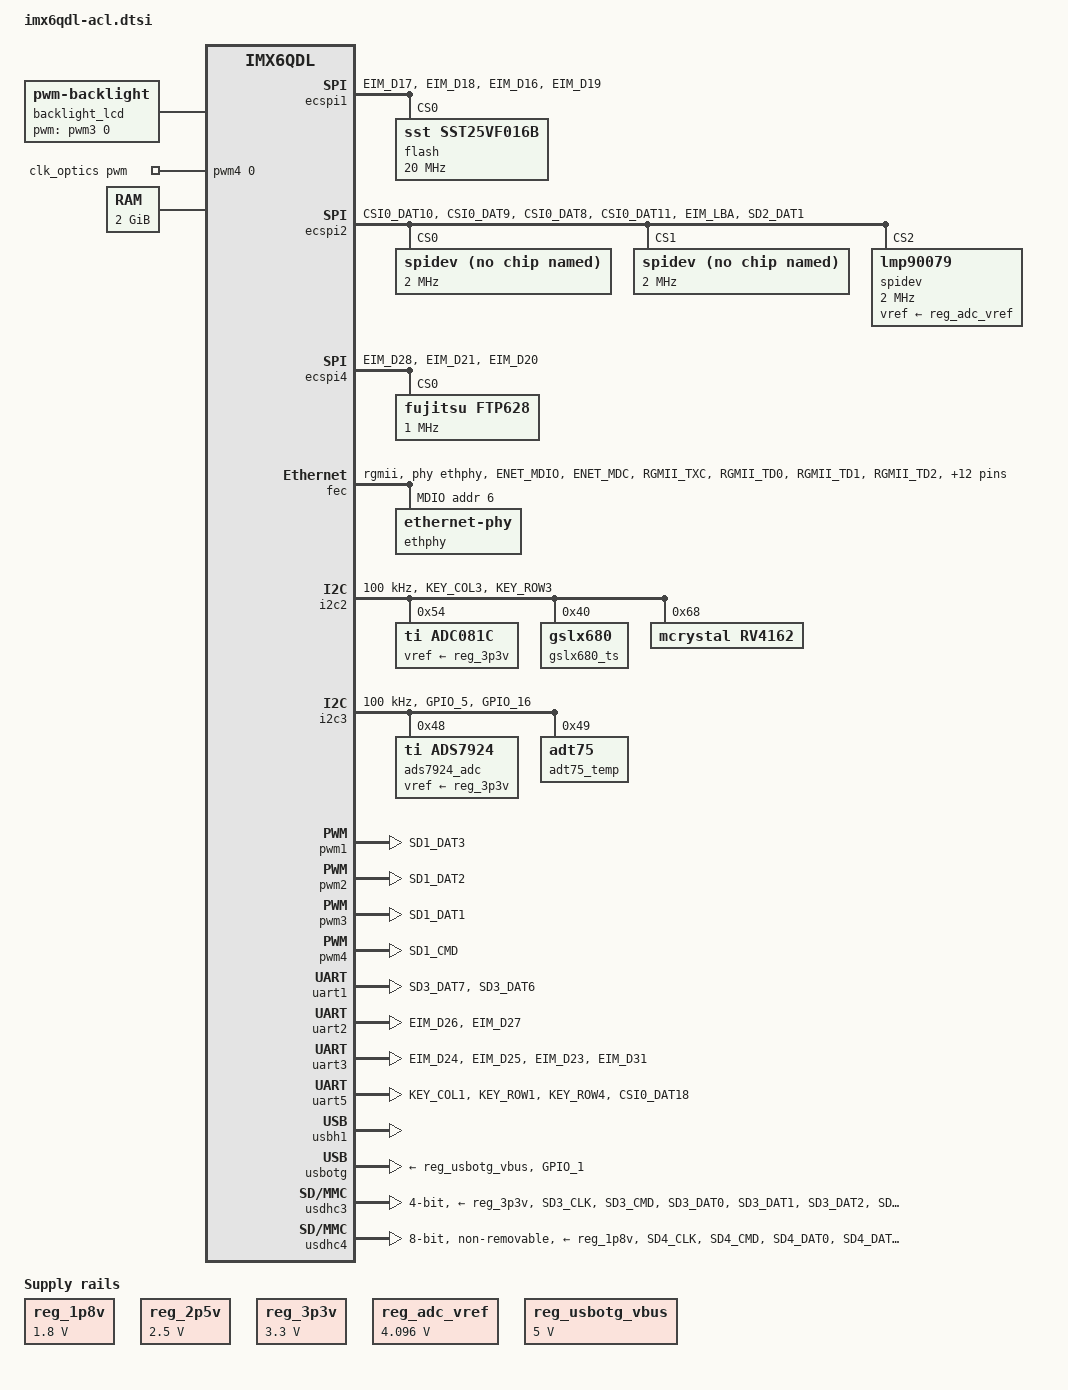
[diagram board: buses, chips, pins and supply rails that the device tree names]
/*
 * Copyright 2016 Boundary Devices, Inc.
 *
 * The code contained herein is licensed under the GNU General Public
 * License. You may obtain a copy of the GNU General Public License
 * Version 2 or later at the following locations:
 *
 * http://www.opensource.org/licenses/gpl-license.html
 * http://www.gnu.org/copyleft/gpl.html
 */
#include <dt-bindings/gpio/gpio.h>
#include <dt-bindings/input/input.h>

&iomuxc {
	pinctrl-names = "default";
	pinctrl-0 = <&pinctrl_hog>;

	iomuxc_imx6q_acl: iomuxc-imx6q-aclgrp {
		status = "okay";
	};
};

&iomuxc_imx6q_acl {
	pinctrl_ecspi1: ecspi1grp {
		fsl,pins = <
			MX6QDL_PAD_EIM_D17__ECSPI1_MISO		0x100b1
			MX6QDL_PAD_EIM_D18__ECSPI1_MOSI		0x100b1
			MX6QDL_PAD_EIM_D16__ECSPI1_SCLK		0x000b1
#define GP_ECSPI1_NOR_CS	<&gpio3 19 GPIO_ACTIVE_LOW>
			MX6QDL_PAD_EIM_D19__GPIO3_IO19		0x0b0b1
		>;
	};

	pinctrl_ecspi2: ecspi2grp {
		fsl,pins = <
			MX6QDL_PAD_CSI0_DAT10__ECSPI2_MISO	0x100b1
			MX6QDL_PAD_CSI0_DAT9__ECSPI2_MOSI	0x100b1
			MX6QDL_PAD_CSI0_DAT8__ECSPI2_SCLK	0x000b1
#define GP_ECSPI2_MOTOR0	<&gpio5 29 GPIO_ACTIVE_LOW>
			MX6QDL_PAD_CSI0_DAT11__GPIO5_IO29	0x0b0b1
#define GP_ECSPI2_MOTOR1	<&gpio2 27 GPIO_ACTIVE_LOW>
			MX6QDL_PAD_EIM_LBA__GPIO2_IO27		0x0b0b1
#define GP_ECSPI2_OPTICS	<&gpio1 14 GPIO_ACTIVE_LOW>
			MX6QDL_PAD_SD2_DAT1__GPIO1_IO14		0x0b0b0
		>;
	};

	pinctrl_ecspi2_lmp90079: ecspi2_lmp90079grp {
		fsl,pins = <
#define GPIRQ_LMP90079		<&gpio7 1 IRQ_TYPE_EDGE_FALLING>
			MX6QDL_PAD_SD3_DAT4__GPIO7_IO01		0x1b0b0
		>;
	};

	pinctrl_ecspi4: ecspi4grp {
		fsl,pins = <
			MX6QDL_PAD_EIM_D28__ECSPI4_MOSI		0x1b0b1
			MX6QDL_PAD_EIM_D21__ECSPI4_SCLK		0x0b0b1
#define GP_ECSPI4_DUMMY_CS0	<&gpio3 20 GPIO_ACTIVE_LOW>
			MX6QDL_PAD_EIM_D20__GPIO3_IO20		0x000b1
		>;
	};

	pinctrl_enet: enetgrp {
		fsl,pins = <
			MX6QDL_PAD_ENET_MDIO__ENET_MDIO		0x1b0b0
			MX6QDL_PAD_ENET_MDC__ENET_MDC		0x1b0b0
			MX6QDL_PAD_RGMII_TXC__RGMII_TXC		0x100b0
			MX6QDL_PAD_RGMII_TD0__RGMII_TD0		0x100b0
			MX6QDL_PAD_RGMII_TD1__RGMII_TD1		0x100b0
			MX6QDL_PAD_RGMII_TD2__RGMII_TD2		0x100b0
			MX6QDL_PAD_RGMII_TD3__RGMII_TD3		0x100b0
			MX6QDL_PAD_RGMII_TX_CTL__RGMII_TX_CTL	0x100b0
			MX6QDL_PAD_ENET_REF_CLK__ENET_TX_CLK	0x100b0
			MX6QDL_PAD_RGMII_RXC__RGMII_RXC		0x1b0b0
			MX6QDL_PAD_RGMII_RD0__RGMII_RD0		0x1b0b0
			MX6QDL_PAD_RGMII_RD1__RGMII_RD1		0x1b0b0
			MX6QDL_PAD_RGMII_RD2__RGMII_RD2		0x1b0b0
			MX6QDL_PAD_RGMII_RD3__RGMII_RD3		0x1b0b0
			MX6QDL_PAD_RGMII_RX_CTL__RGMII_RX_CTL	0x1b0b0
#define GP_ENET_PHY_RESET	<&gpio1 27 GPIO_ACTIVE_LOW>
			MX6QDL_PAD_ENET_RXD0__GPIO1_IO27	0x030b0
#define GPIRQ_ENET_PHY		<&gpio1 28 IRQ_TYPE_LEVEL_LOW>
			MX6QDL_PAD_ENET_TX_EN__GPIO1_IO28	0x1b0b0
#define GPIRQ_ENET		<&gpio1 6 IRQ_TYPE_LEVEL_HIGH>
			MX6QDL_PAD_GPIO_6__ENET_IRQ		0x000b1
		>;
	};

	pinctrl_hog: hoggrp {
		fsl,pins = <
			/* Buzzer */
			MX6QDL_PAD_GPIO_3__GPIO1_IO03		0x130b0
			/* Fan */
			MX6QDL_PAD_GPIO_8__GPIO1_IO08		0x1b0b0
			MX6QDL_PAD_GPIO_17__GPIO7_IO12		0x130b0
			MX6QDL_PAD_EIM_DA13__GPIO3_IO13		0x130b0
			/* Motors */
			MX6QDL_PAD_EIM_CS1__GPIO2_IO24		0x130b0
			MX6QDL_PAD_EIM_CS0__GPIO2_IO23		0x130b0
			MX6QDL_PAD_EIM_OE__GPIO2_IO25		0x130b0
			MX6QDL_PAD_EIM_RW__GPIO2_IO26		0x130b0
			/* motor control for CS0, STEP1_RESET */
			MX6QDL_PAD_EIM_DA8__GPIO3_IO08		0x1b8b0
			MX6QDL_PAD_EIM_DA9__GPIO3_IO09		0x1b0b0
			MX6QDL_PAD_EIM_DA10__GPIO3_IO10		0x1b0b0
			MX6QDL_PAD_EIM_DA11__GPIO3_IO11		0x130b0
			/* motor control for CS1, STEP2_RESET */
			MX6QDL_PAD_EIM_EB3__GPIO2_IO31		0x1b8b0
			MX6QDL_PAD_EIM_WAIT__GPIO5_IO00		0x1b0b0
			MX6QDL_PAD_EIM_BCLK__GPIO6_IO31		0x1b0b0
			MX6QDL_PAD_EIM_EB0__GPIO2_IO28		0x130b0
			/* Printer */
#define GP_PRT_MOTOR_BDCAY	<&gpio2 22 GPIO_ACTIVE_HIGH>
			MX6QDL_PAD_EIM_A16__GPIO2_IO22		0x1b0b0
#define GP_PRT_MOTOR_ADCAY	<&gpio2 21 GPIO_ACTIVE_HIGH>
			MX6QDL_PAD_EIM_A17__GPIO2_IO21		0x1b0b0
#define GP_PRT_MOTOR_TOFF	<&gpio2 20 GPIO_ACTIVE_HIGH>
			MX6QDL_PAD_EIM_A18__GPIO2_IO20		0x1b0b0
#define GP_PRT_MOTOR_ATE	<&gpio2 19 GPIO_ACTIVE_HIGH>
			MX6QDL_PAD_EIM_A19__GPIO2_IO19		0x1b0b0
#define GP_PRT_MOTOR_SLEEP	<&gpio2 18 GPIO_ACTIVE_LOW>
			MX6QDL_PAD_EIM_A20__GPIO2_IO18		0x1b0b0
#define GP_PRT_MOTOR_B1		<&gpio2 17 GPIO_ACTIVE_HIGH>
	   		MX6QDL_PAD_EIM_A21__GPIO2_IO17		0x1b0b0
#define GP_PRT_MOTOR_B2		<&gpio2 16 GPIO_ACTIVE_HIGH>
	        	MX6QDL_PAD_EIM_A22__GPIO2_IO16		0x1b0b0
#define GP_PRT_MOTOR_A1		<&gpio6 6 GPIO_ACTIVE_HIGH>
	        	MX6QDL_PAD_EIM_A23__GPIO6_IO06		0x1b0b0
#define GP_PRT_MOTOR_A2		<&gpio5 4 GPIO_ACTIVE_HIGH>
			MX6QDL_PAD_EIM_A24__GPIO5_IO04		0x1b0b0
#define GP_PRT_STROBE1		<&gpio3 0 GPIO_ACTIVE_HIGH>
			MX6QDL_PAD_EIM_DA0__GPIO3_IO00		0x1b0b0
#define GP_PRT_STROBE2		<&gpio3 1 GPIO_ACTIVE_HIGH>
			MX6QDL_PAD_EIM_DA1__GPIO3_IO01		0x1b0b0
#define GP_PRT_STROBE3		<&gpio3 2 GPIO_ACTIVE_HIGH>
			MX6QDL_PAD_EIM_DA2__GPIO3_IO02		0x1b0b0
#define GP_PRT_STROBE4		<&gpio3 3 GPIO_ACTIVE_HIGH>
			MX6QDL_PAD_EIM_DA3__GPIO3_IO03		0x1b0b0
#define GP_PRT_STROBE5		<&gpio3 4 GPIO_ACTIVE_HIGH>
			MX6QDL_PAD_EIM_DA4__GPIO3_IO04		0x1b0b0
#define GP_PRT_STROBE6		<&gpio3 5 GPIO_ACTIVE_HIGH>
			MX6QDL_PAD_EIM_DA5__GPIO3_IO05		0x1b0b0
#define GP_PRT_LATCH		<&gpio3 7 GPIO_ACTIVE_HIGH>
			MX6QDL_PAD_EIM_DA7__GPIO3_IO07		0x1b0b0
#define GP_PRT_TRQ0		<&gpio5 22 GPIO_ACTIVE_HIGH>
			MX6QDL_PAD_CSI0_DAT4__GPIO5_IO22	0x1b0b0
#define GP_PRT_TRQ1		<&gpio5 23 GPIO_ACTIVE_HIGH>
			MX6QDL_PAD_CSI0_DAT5__GPIO5_IO23	0x1b0b0
#define GP_PRT_MOTOR_FAULT	<&gpio5 24 GPIO_ACTIVE_LOW>
			MX6QDL_PAD_CSI0_DAT6__GPIO5_IO24	0x1b0b0
#define GP_PRT_DOUT		<&gpio1 13 GPIO_ACTIVE_HIGH>
			MX6QDL_PAD_SD2_DAT2__GPIO1_IO13		0x1b0b0
#define GP_PRT_PAPER_OUT	<&gpio1 12 GPIO_ACTIVE_HIGH>
			MX6QDL_PAD_SD2_DAT3__GPIO1_IO12		0x1b0b0
#define GP_STAT_LED1		<&gpio3 29 GPIO_ACTIVE_HIGH>
			MX6QDL_PAD_EIM_D29__GPIO3_IO29		0x130b0
#define GP_STAT_LED2		<&gpio3 29 GPIO_ACTIVE_HIGH>
			MX6QDL_PAD_EIM_EB1__GPIO2_IO29		0x130b0
			/* Scanner */
			MX6QDL_PAD_CSI0_MCLK__GPIO5_IO19	0x130b0
			MX6QDL_PAD_CSI0_PIXCLK__GPIO5_IO18	0x130b0
			MX6QDL_PAD_CSI0_DAT16__GPIO6_IO02	0x130b0
			MX6QDL_PAD_CSI0_DAT17__GPIO6_IO03	0x130b0
			/* Solenoids */
			MX6QDL_PAD_GPIO_19__GPIO4_IO05		0x1b0b0
			MX6QDL_PAD_GPIO_7__GPIO1_IO07		0x1b0b0
			MX6QDL_PAD_GPIO_2__GPIO1_IO02		0x1b0b0
			MX6QDL_PAD_SD1_DAT0__GPIO1_IO16		0x1b0b0
			MX6QDL_PAD_GPIO_18__GPIO7_IO13		0x1b0b0
			MX6QDL_PAD_GPIO_0__GPIO1_IO00		0x1b0b0
		>;
	};

	pinctrl_i2c2: i2c2grp {
		fsl,pins = <
			MX6QDL_PAD_KEY_COL3__I2C2_SCL		0x4001b8b1
			MX6QDL_PAD_KEY_ROW3__I2C2_SDA		0x4001b8b1
		>;
	};

	pinctrl_i2c2_adc081c: i2c2-adc081cgrp {
		fsl,pins = <
#define GPIRQ_PRINT_ALERT	<&gpio4 6 IRQ_TYPE_LEVEL_LOW>
			MX6QDL_PAD_CSI0_DATA_EN__GPIO5_IO20	0x1b0b0
		>;
	};

	pinctrl_i2c2_rv4162: i2c2-rv4162grp {
		fsl,pins = <
#define GPIRQ_RTC_RV4162	<&gpio4 6 IRQ_TYPE_LEVEL_LOW>
			MX6QDL_PAD_KEY_COL0__GPIO4_IO06		0x1b0b0
		>;
	};

	pinctrl_i2c3_ads7924: i2c3_ads7924grp {
		fsl,pins = <
#define GPIRQ_ADC_INTR		<&gpio3 14 IRQ_TYPE_LEVEL_LOW>
			MX6QDL_PAD_EIM_DA14__GPIO3_IO14		0x1b0b0
#define GP_ADC_RESET		<&gpio3 15 GPIO_ACTIVE_LOW>
			MX6QDL_PAD_EIM_DA15__GPIO3_IO15		0x130b0
		>;
	};

	pinctrl_i2c3_adt75: i2c3_adt75grp {
		fsl,pins = <
#define GPIRQ_TEMP_ALERT		<&gpio4 4 IRQ_TYPE_LEVEL_LOW>
			MX6QDL_PAD_GPIO_4__GPIO1_IO04		0x1b0b0
		>;
	};

	pinctrl_i2c3_gslx680: i2c3_gslx680grp {
		fsl,pins = <
#define GPIRQ_GSLX680			<&gpio4 10 IRQ_TYPE_LEVEL_HIGH>
#define GP_GSLX680_IRQ			<&gpio4 10 GPIO_ACTIVE_HIGH>
			MX6QDL_PAD_KEY_COL2__GPIO4_IO10		0x130b0
#define GP_GSLX680_SHUTDOWN		<&gpio4 11 GPIO_ACTIVE_LOW>
			MX6QDL_PAD_KEY_ROW2__GPIO4_IO11		0x1b0b0
		>;
	};

	pinctrl_i2c3: i2c3grp {
		fsl,pins = <
			MX6QDL_PAD_GPIO_5__I2C3_SCL		0x4001b8b1
			MX6QDL_PAD_GPIO_16__I2C3_SDA		0x4001b8b1
		>;
	};

	pinctrl_lcd: lcdgrp {
		fsl,pins = <
			MX6QDL_PAD_DI0_DISP_CLK__IPU1_DI0_DISP_CLK	0x10
			MX6QDL_PAD_DI0_PIN15__IPU1_DI0_PIN15		0x10
			MX6QDL_PAD_DI0_PIN2__IPU1_DI0_PIN02		0x10
			MX6QDL_PAD_DI0_PIN3__IPU1_DI0_PIN03		0x10
			MX6QDL_PAD_DISP0_DAT0__IPU1_DISP0_DATA00	0x10
			MX6QDL_PAD_DISP0_DAT1__IPU1_DISP0_DATA01	0x10
			MX6QDL_PAD_DISP0_DAT2__IPU1_DISP0_DATA02	0x10
			MX6QDL_PAD_DISP0_DAT3__IPU1_DISP0_DATA03	0x10
			MX6QDL_PAD_DISP0_DAT4__IPU1_DISP0_DATA04	0x10
			MX6QDL_PAD_DISP0_DAT5__IPU1_DISP0_DATA05	0x10
			MX6QDL_PAD_DISP0_DAT6__IPU1_DISP0_DATA06	0x10
			MX6QDL_PAD_DISP0_DAT7__IPU1_DISP0_DATA07	0x10
			MX6QDL_PAD_DISP0_DAT8__IPU1_DISP0_DATA08	0x10
			MX6QDL_PAD_DISP0_DAT9__IPU1_DISP0_DATA09	0x10
			MX6QDL_PAD_DISP0_DAT10__IPU1_DISP0_DATA10	0x10
			MX6QDL_PAD_DISP0_DAT11__IPU1_DISP0_DATA11	0x10
			MX6QDL_PAD_DISP0_DAT12__IPU1_DISP0_DATA12	0x10
			MX6QDL_PAD_DISP0_DAT13__IPU1_DISP0_DATA13	0x10
			MX6QDL_PAD_DISP0_DAT14__IPU1_DISP0_DATA14	0x10
			MX6QDL_PAD_DISP0_DAT15__IPU1_DISP0_DATA15	0x10
			MX6QDL_PAD_DISP0_DAT16__IPU1_DISP0_DATA16	0x10
			MX6QDL_PAD_DISP0_DAT17__IPU1_DISP0_DATA17	0x10
			MX6QDL_PAD_DISP0_DAT18__IPU1_DISP0_DATA18	0x10
			MX6QDL_PAD_DISP0_DAT19__IPU1_DISP0_DATA19	0x10
			MX6QDL_PAD_DISP0_DAT20__IPU1_DISP0_DATA20	0x10
			MX6QDL_PAD_DISP0_DAT21__IPU1_DISP0_DATA21	0x10
			MX6QDL_PAD_DISP0_DAT22__IPU1_DISP0_DATA22	0x10
			MX6QDL_PAD_DISP0_DAT23__IPU1_DISP0_DATA23	0x10
		>;
	};

	pinctrl_pwm1: pwm1grp {
		fsl,pins = <
			MX6QDL_PAD_SD1_DAT3__PWM1_OUT		0x030b1
		>;
	};

	pinctrl_pwm2: pwm2grp {
		fsl,pins = <
			MX6QDL_PAD_SD1_DAT2__PWM2_OUT		0x030b1
		>;
	};

	pinctrl_pwm3: pwm3grp {
		fsl,pins = <
			MX6QDL_PAD_SD1_DAT1__PWM3_OUT		0x030b1
		>;
	};

	pinctrl_pwm4: pwm4grp {
		fsl,pins = <
			MX6QDL_PAD_SD1_CMD__PWM4_OUT		0x030b1
		>;
	};

	pinctrl_reg_usbotg_vbus: reg-usbotg-vbusgrp {
		fsl,pins = <
#define GP_REG_USBOTG	<&gpio3 22 GPIO_ACTIVE_HIGH>
			MX6QDL_PAD_EIM_D22__GPIO3_IO22		0x030b0
		>;
	};

	pinctrl_uart1: uart1grp {
		fsl,pins = <
			MX6QDL_PAD_SD3_DAT7__UART1_TX_DATA	0x1b0b1
			MX6QDL_PAD_SD3_DAT6__UART1_RX_DATA	0x1b0b1
		>;
	};

	pinctrl_uart2: uart2grp {
		fsl,pins = <
			MX6QDL_PAD_EIM_D26__UART2_TX_DATA	0x1b0b1
			MX6QDL_PAD_EIM_D27__UART2_RX_DATA	0x1b0b1
		>;
	};

	pinctrl_uart3: uart3grp {
		fsl,pins = <
			MX6QDL_PAD_EIM_D24__UART3_TX_DATA	0x1b0b1
			MX6QDL_PAD_EIM_D25__UART3_RX_DATA	0x1b0b1
			MX6QDL_PAD_EIM_D23__UART3_CTS_B		0x1b0b1
			MX6QDL_PAD_EIM_D31__UART3_RTS_B		0x1b0b1
		>;
	};

	pinctrl_uart5: uart5grp {
		fsl,pins = <
			MX6QDL_PAD_KEY_COL1__UART5_TX_DATA	0x1b0b1
			MX6QDL_PAD_KEY_ROW1__UART5_RX_DATA	0x1b0b1
			MX6QDL_PAD_KEY_ROW4__UART5_CTS_B	0x1b0b1
			MX6QDL_PAD_CSI0_DAT18__UART5_RTS_B	0x1b0b1
		>;
	};

	pinctrl_usbotg: usbotggrp {
		fsl,pins = <
			MX6QDL_PAD_GPIO_1__USB_OTG_ID		0x17059
		>;
	};

	pinctrl_usdhc3: usdhc3grp {
		fsl,pins = <
			MX6QDL_PAD_SD3_CLK__SD3_CLK		0x10059
			MX6QDL_PAD_SD3_CMD__SD3_CMD		0x17059
			MX6QDL_PAD_SD3_DAT0__SD3_DATA0		0x17059
			MX6QDL_PAD_SD3_DAT1__SD3_DATA1		0x17059
			MX6QDL_PAD_SD3_DAT2__SD3_DATA2		0x17059
			MX6QDL_PAD_SD3_DAT3__SD3_DATA3		0x17059
			MX6QDL_PAD_NANDF_CS1__SD3_VSELECT	0x100b0		/* sd3 voltage select */
#define GP_USDHC3_CD	<&gpio7 0 GPIO_ACTIVE_LOW>
			MX6QDL_PAD_SD3_DAT5__GPIO7_IO00		0x1b0b0
		>;
	};

	pinctrl_usdhc4: usdhc4grp {
		fsl,pins = <
			MX6QDL_PAD_SD4_CLK__SD4_CLK		0x10059
			MX6QDL_PAD_SD4_CMD__SD4_CMD		0x17059
			MX6QDL_PAD_SD4_DAT0__SD4_DATA0		0x17059
			MX6QDL_PAD_SD4_DAT1__SD4_DATA1		0x17059
			MX6QDL_PAD_SD4_DAT2__SD4_DATA2		0x17059
			MX6QDL_PAD_SD4_DAT3__SD4_DATA3		0x17059
			MX6QDL_PAD_SD4_DAT4__SD4_DATA4		0x17059
			MX6QDL_PAD_SD4_DAT5__SD4_DATA5		0x17059
			MX6QDL_PAD_SD4_DAT6__SD4_DATA6		0x17059
			MX6QDL_PAD_SD4_DAT7__SD4_DATA7		0x17059
		>;
	};
};

/ {
	aliases {
		backlight_lcd = &backlight_lcd;
		fb_lcd = &fb_lcd;
		lcd = &lcd;
		mmc0 = &usdhc3;
		mmc1 = &usdhc4;
		mxcfb0 = &fb_lcd;
		pwm_lcd = &pwm3;
	};

	backlight_lcd: backlight_lcd {
		brightness-levels = <0 1 2 3 4 5 6 7 8 9 10>;
		compatible = "pwm-backlight";
		default-brightness-level = <8>;
		display = <&fb_lcd>;
		pwms = <&pwm3 0 5000000>;
	};

	clk_optics: clk-optics {
		compatible = "pwm-clock";
		#clock-cells = <0>;
		clock-frequency = <3666667>;
		clock-output-names = "optics";
		pwms = <&pwm4 0 273>; /* 1 / 273 ns = 3.67 MHz */
	};

	fb_lcd: fb@0 {
		compatible = "fsl,mxc_sdc_fb";
		disp_dev = "lcd";
		interface_pix_fmt = "RGB24";
		mode_str = "ASIT500MA6F5D";
		default_bpp = <32>;
		int_clk = <0>;
		late_init = <0>;
		status = "enabled";
	};

	lcd: lcd@0 {
		compatible = "fsl,lcd";
		ipu_id = <0>;
		disp_id = <0>;
		default_ifmt = "RGB24";
		pinctrl-names = "default";
		pinctrl-0 = <&pinctrl_lcd>;
		status = "okay";
	};

	memory {
		reg = <0x10000000 0x80000000>;
	};

	regulators {
		compatible = "simple-bus";
		#address-cells = <1>;
		#size-cells = <0>;

		reg_1p8v: regulator@0 {
			compatible = "regulator-fixed";
			reg = <0>;
			regulator-name = "1P8V";
			regulator-min-microvolt = <1800000>;
			regulator-max-microvolt = <1800000>;
			regulator-always-on;
		};

		reg_2p5v: regulator@1 {
			compatible = "regulator-fixed";
			reg = <1>;
			regulator-name = "2P5V";
			regulator-min-microvolt = <2500000>;
			regulator-max-microvolt = <2500000>;
			regulator-always-on;
		};

		reg_3p3v: regulator@2 {
			compatible = "regulator-fixed";
			reg = <2>;
			regulator-name = "3P3V";
			regulator-min-microvolt = <3300000>;
			regulator-max-microvolt = <3300000>;
			regulator-always-on;
		};

		reg_adc_vref: regulator@3 {
			compatible = "regulator-fixed";
			reg = <3>;
			regulator-name = "adc_vref";
			regulator-min-microvolt = <4096000>;
			regulator-max-microvolt = <4096000>;
		};

		reg_usbotg_vbus: regulator@4 {
			compatible = "regulator-fixed";
			reg = <4>;
			pinctrl-names = "default";
			pinctrl-0 = <&pinctrl_reg_usbotg_vbus>;
			regulator-name = "usb_otg_vbus";
			regulator-min-microvolt = <5000000>;
			regulator-max-microvolt = <5000000>;
			gpio = GP_REG_USBOTG;
			enable-active-high;
		};
	};
};

&ecspi1 {
	pinctrl-names = "default";
	pinctrl-0 = <&pinctrl_ecspi1>;
	fsl,spi-num-chipselects = <1>;
	cs-gpios = GP_ECSPI1_NOR_CS;
	status = "okay";

	flash: m25p80@0 {
		compatible = "sst,sst25vf016b";
		spi-max-frequency = <20000000>;
		reg = <0>;
		#address-cells = <1>;
		#size-cells = <1>;
		mtd@00000000 {
			label = "U-Boot";
			reg = <0x0 0xC0000>;
		};

		mtd@000C0000 {
			label = "env";
			reg = <0xC0000 0x2000>;
		};
		mtd@000C2000 {
			label = "splash";
			reg = <0xC2000 0x13e000>;
		};
	};
};

&ecspi2 {
	pinctrl-names = "default";
	pinctrl-0 = <&pinctrl_ecspi2>;
	fsl,spi-num-chipselects = <3>;
	cs-gpios = GP_ECSPI2_MOTOR0, GP_ECSPI2_MOTOR1, GP_ECSPI2_OPTICS;
	status = "okay";

	spidev@0 {
		compatible = "spidev";
		spi-max-frequency = <2000000>;
		reg = <0>;
	};

	spidev@1 {
		compatible = "spidev";
		spi-max-frequency = <2000000>;
		reg = <1>;
	};

	spidev@2 {
		clocks = <&clk_optics>;
		clock-names = "osc";
		compatible = "lmp90079";
		interrupts-extended = GPIRQ_LMP90079;
		pinctrl-names = "default";
		pinctrl-0 = <&pinctrl_ecspi2_lmp90079>;
		spi-max-frequency = <2000000>;
		reg = <2>;
		vref-supply = <&reg_adc_vref>;
	};
};

&ecspi4 {
	pinctrl-names = "default";
	pinctrl-0 = <&pinctrl_ecspi4>;
	fsl,spi-num-chipselects = <1>;
	cs-gpios = GP_ECSPI4_DUMMY_CS0;
	status = "okay";

	ftp628@0 {
		compatible = "fujitsu,ftp628";
		spi-max-frequency = <1000000>;
		reg = <0>;
		latch-gpio = GP_PRT_LATCH;
		mt-ab-gpios = GP_PRT_MOTOR_A1, GP_PRT_MOTOR_A2,
				GP_PRT_MOTOR_B1, GP_PRT_MOTOR_B2;
		mt-ate-gpio = GP_PRT_MOTOR_ATE;
		mt-fault-gpio = GP_PRT_MOTOR_FAULT;
		mt-dcay-gpios = GP_PRT_MOTOR_ADCAY, GP_PRT_MOTOR_BDCAY;
		mt-sleep-gpio = GP_PRT_MOTOR_SLEEP;
		mt-toff-gpio = GP_PRT_MOTOR_TOFF;
		mt-trq-gpios = GP_PRT_TRQ0, GP_PRT_TRQ1;
		paper-out-gpio = GP_PRT_PAPER_OUT;
		strobe-gpios = GP_PRT_STROBE1, GP_PRT_STROBE2, GP_PRT_STROBE3,
				GP_PRT_STROBE4, GP_PRT_STROBE5, GP_PRT_STROBE6;
	};
};

&fec {
	interrupts-extended = GPIRQ_ENET,
			      <&intc 0 119 IRQ_TYPE_LEVEL_HIGH>;
	phy-handle = <&ethphy>;
	phy-mode = "rgmii";
#if 0
	phy-reset-gpios = GP_ENET_PHY_RESET;
#endif
	pinctrl-names = "default";
	pinctrl-0 = <&pinctrl_enet>;
	status = "okay";

	mdio {
		#address-cells = <0>;
		#size-cells = <1>;

		ethphy: ethernet-phy@6 {
			reg = <6>;
			interrupts-extended = GPIRQ_ENET_PHY;
		};
	};
};

&i2c2 {
	clock-frequency = <100000>;
	pinctrl-names = "default";
	pinctrl-0 = <&pinctrl_i2c2>;
	status = "okay";

	adc081c@54 {
		compatible = "ti,adc081c";
		pinctrl-names = "default";
		pinctrl-0 = <&pinctrl_i2c2_adc081c>;
		reg = <0x54>;
		vref-supply = <&reg_3p3v>;
		interrupts-extended = GPIRQ_PRINT_ALERT;
	};

	gslx680_ts@40 {
		compatible = "gslx680";
		pinctrl-names = "default";
		pinctrl-0 = <&pinctrl_i2c3_gslx680>;
		reg = <0x40>;
		interrupts-extended = GPIRQ_GSLX680;
		wakeup-gpios = GP_GSLX680_IRQ;
		shutdown-gpios = GP_GSLX680_SHUTDOWN;
	};

	rv4162@68 {
		compatible = "mcrystal,rv4162";
		pinctrl-names = "default";
		pinctrl-0 = <&pinctrl_i2c2_rv4162>;
		reg = <0x68>;
		interrupts-extended = GPIRQ_RTC_RV4162;
	};
};

&i2c3 {
	clock-frequency = <100000>;
	pinctrl-names = "default";
	pinctrl-0 = <&pinctrl_i2c3>;
	status = "okay";

	ads7924_adc@48 {
		compatible = "ti,ads7924";
		pinctrl-names = "default";
		pinctrl-0 = <&pinctrl_i2c3_ads7924>;
		reg = <0x48>;
		vref-supply = <&reg_3p3v>;
		reset-gpios = GP_ADC_RESET;
		interrupts-extended = GPIRQ_ADC_INTR;
		adc-irq-mode = /bits/ 8 <0x00>; /* IRQ for alarms */
		adc-mode = /bits/ 8 <0x3B>; /* Auto Scan w/ Sleep */
		adc-sleep-ms = <320>;
	};

	adt75_temp@49 {
		compatible = "adt75";
		pinctrl-names = "default";
		pinctrl-0 = <&pinctrl_i2c3_adt75>;
		reg = <0x49>;
		interrupts-extended = GPIRQ_TEMP_ALERT;
	};
};

&pwm1 {
	pinctrl-names = "default";
	pinctrl-0 = <&pinctrl_pwm1>;
	status = "okay";
};

&pwm2 {
	pinctrl-names = "default";
	pinctrl-0 = <&pinctrl_pwm2>;
	status = "okay";
};

&pwm3 {
	pinctrl-names = "default";
	pinctrl-0 = <&pinctrl_pwm3>;
	status = "okay";
};

&pwm4 {
	pinctrl-names = "default";
	pinctrl-0 = <&pinctrl_pwm4>;
	status = "okay";
};

&uart1 {
	pinctrl-names = "default";
	pinctrl-0 = <&pinctrl_uart1>;
	status = "okay";
};

&uart2 {
	pinctrl-names = "default";
	pinctrl-0 = <&pinctrl_uart2>;
	status = "okay";
};

&uart3 {
	pinctrl-names = "default";
	pinctrl-0 = <&pinctrl_uart3>;
	fsl,uart-has-rtscts;
	status = "okay";
};

&uart5 {
	pinctrl-names = "default";
	pinctrl-0 = <&pinctrl_uart5>;
	fsl,uart-has-rtscts;
	status = "okay";
};

&usbh1 {
	disable-over-current;
	status = "okay";
};

&usbotg {
	vbus-supply = <&reg_usbotg_vbus>;
	pinctrl-names = "default";
	pinctrl-0 = <&pinctrl_usbotg>;
	disable-over-current;
	status = "okay";
};

&usdhc3 {
	pinctrl-names = "default";
	pinctrl-0 = <&pinctrl_usdhc3>;
	bus-width = <4>;
	cd-gpios = GP_USDHC3_CD;
	vmmc-supply = <&reg_3p3v>;
	status = "okay";
};

&usdhc4 {
	pinctrl-names = "default";
	pinctrl-0 = <&pinctrl_usdhc4>;
	bus-width = <8>;
	non-removable;
	vqmmc-1-8-v;
	vmmc-supply = <&reg_1p8v>;
	keep-power-in-suspend;
	status = "okay";
};
